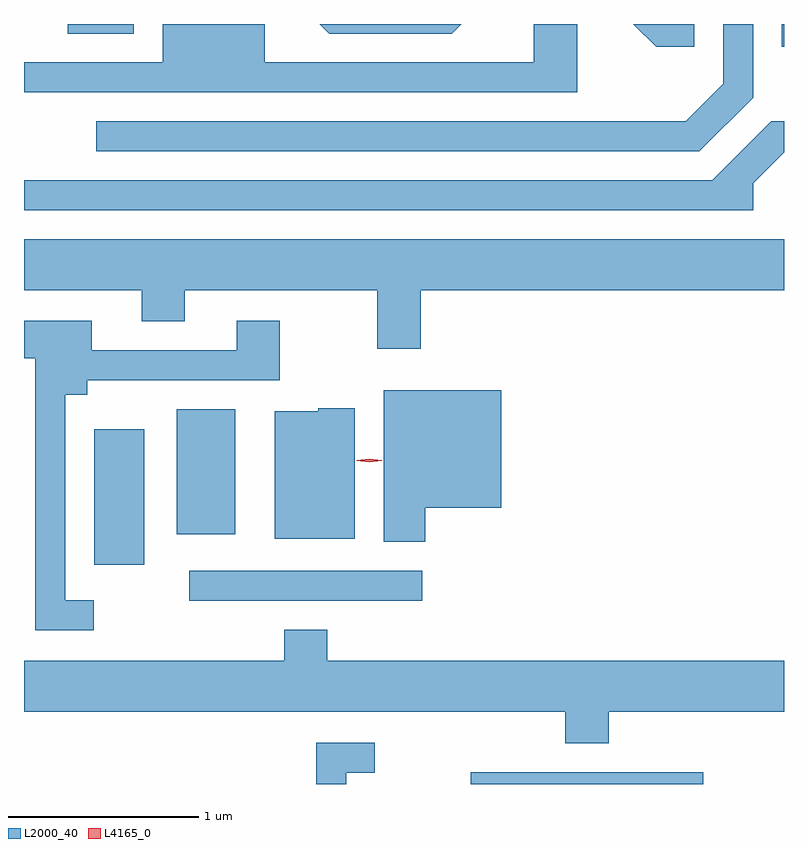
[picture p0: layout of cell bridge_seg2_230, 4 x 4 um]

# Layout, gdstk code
import gdstk
lib = gdstk.Library(unit=1e-6, precision=1e-09)
def R(c, l, rs):  # rectangles x0, y0, x1, y1
    for r in rs: c.add(gdstk.rectangle(r[:2], r[2:], *l))
def P(c, l, *ps):  # polygons
    for p in ps: c.add(gdstk.Polygon(p, *l))
L2000_40 = (2000, 40)
L4165_0 = (4165, 0)

bridge_seg2_230 = lib.new_cell('bridge_seg2_230')
R(bridge_seg2_230, L2000_40, [(617.923,1090.116,619.148,1090.179), (616.443,1091.081,617.668,1091.239), (615.941,1091.271,616.204,1091.984), (616.376,1091.431,616.684,1092.089), (619.561,1093.996,619.572,1094.116), (615.801,1094.066,616.149,1094.116)])
P(bridge_seg2_230, L2000_40, [(619.409,1093.729),(619.409,1094.116),(619.251,1094.116),(619.251,1093.802),(619.054,1093.604),(615.953,1093.604),(615.953,1093.446),(619.127,1093.446)],
  [(617.872,1094.116),(617.129,1094.116),(617.179,1094.066),(617.822,1094.066)],
  [(619.099,1094.116),(618.779,1094.116),(618.899,1093.996),(619.099,1093.996)],
  [(618.484,1094.116),(618.256,1094.116),(618.256,1093.914),(616.839,1093.914),(616.839,1094.116),(616.301,1094.116),(616.301,1093.914),(615.572,1093.914),(615.572,1093.756),(618.484,1093.756)],
  [(619.409,1093.279),(619.572,1093.441),(619.572,1093.604),(619.504,1093.604),(619.194,1093.294),(615.572,1093.294),(615.572,1093.136),(619.409,1093.136)],
  [(617.659,1092.716),(619.572,1092.716),(619.572,1092.984),(615.572,1092.984),(615.572,1092.716),(616.191,1092.716),(616.191,1092.551),(616.419,1092.551),(616.419,1092.716),(617.431,1092.716),(617.431,1092.406),(617.659,1092.406)],
  [(615.938,1091.084),(615.789,1091.084),(615.789,1092.166),(615.904,1092.166),(615.904,1092.241),(616.919,1092.241),(616.919,1092.554),(616.691,1092.554),(616.691,1092.399),(615.929,1092.399),(615.929,1092.554),(615.572,1092.554),(615.572,1092.356),(615.631,1092.356),(615.631,1090.926),(615.938,1090.926)],
  [(617.684,1091.571),(618.084,1091.571),(618.084,1092.189),(617.466,1092.189),(617.466,1091.391),(617.684,1091.391)],
  [(617.314,1092.094),(617.12,1092.094),(617.12,1092.079),(616.891,1092.079),(616.891,1091.406),(617.314,1091.406)],
  [(618.649,1090.496),(619.572,1090.496),(619.572,1090.764),(617.169,1090.764),(617.169,1090.929),(616.941,1090.929),(616.941,1090.764),(615.572,1090.764),(615.572,1090.496),(618.421,1090.496),(618.421,1090.331),(618.649,1090.331)],
  [(617.269,1090.176),(617.418,1090.176),(617.418,1090.334),(617.111,1090.334),(617.111,1090.116),(617.269,1090.116)])
P(bridge_seg2_230, L4165_0, [(617.39,1091.809),(617.324,1091.818),(617.324,1091.819),(617.324,1091.819),(617.39,1091.829),(617.455,1091.82),(617.456,1091.819),(617.455,1091.818)])

lib.write_gds('bridge_seg2_230.gds')
